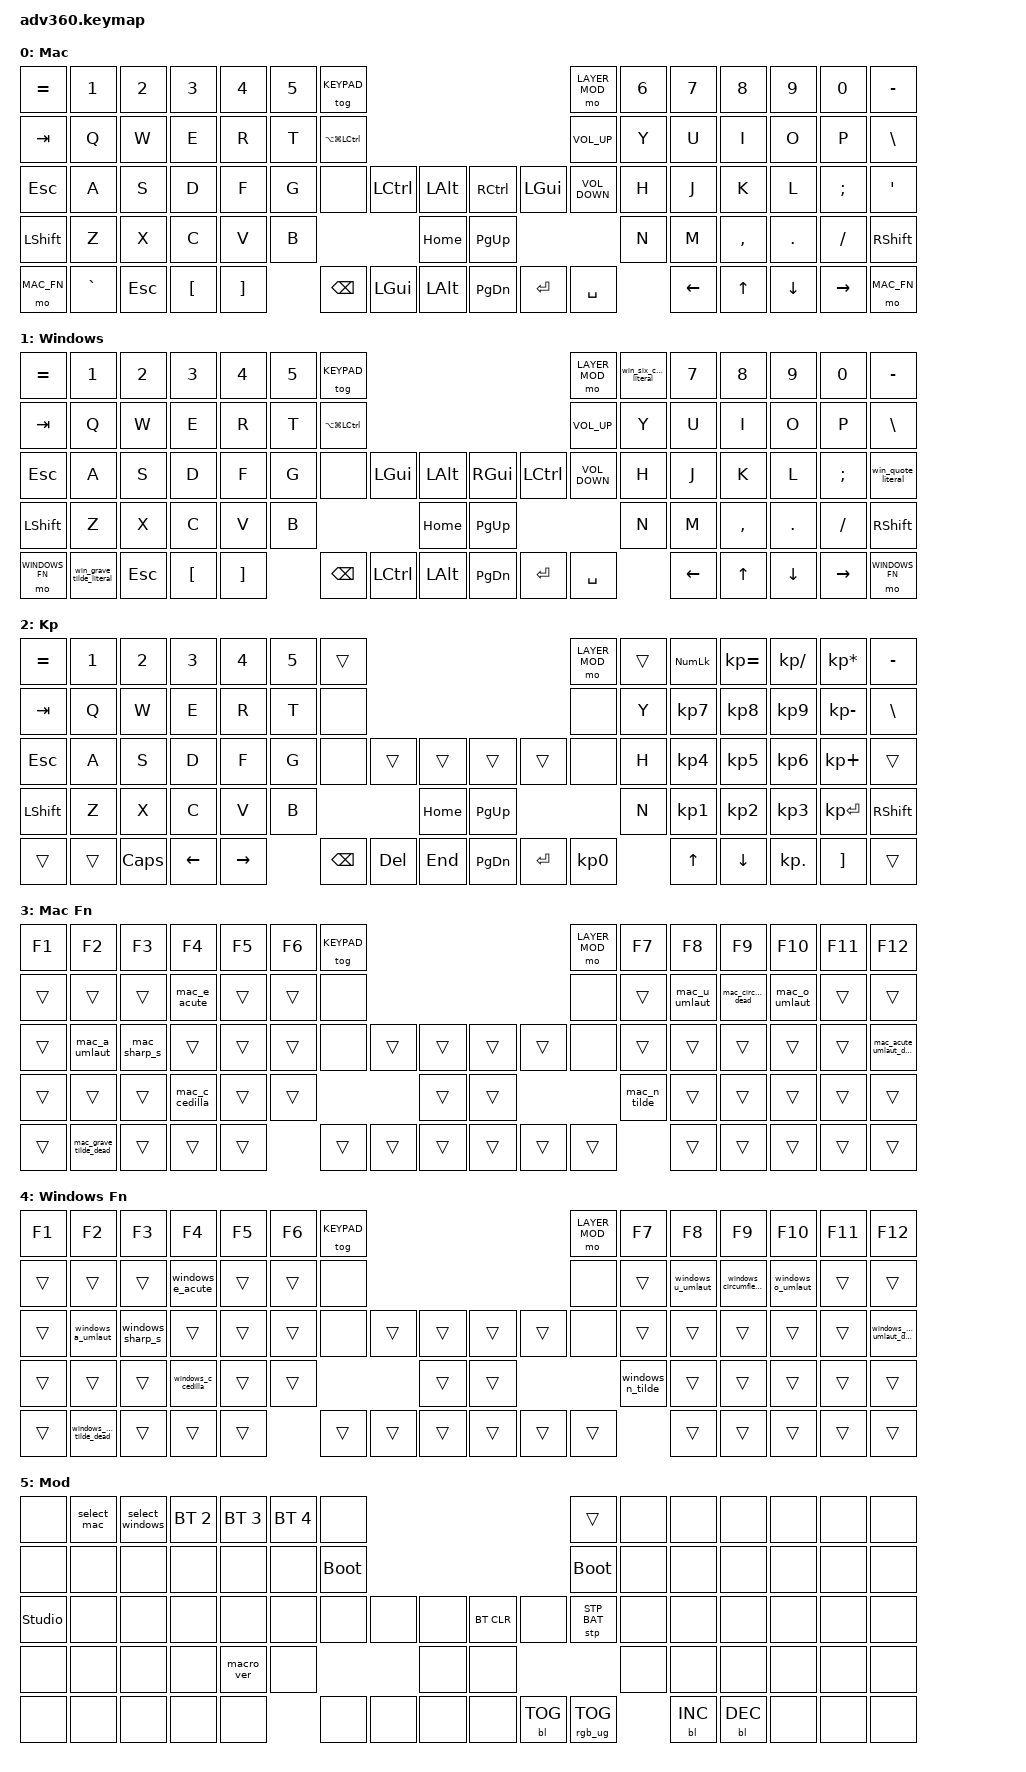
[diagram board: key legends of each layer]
#include <dt-bindings/zmk/stp.h>
#include <behaviors.dtsi>
#include <dt-bindings/zmk/backlight.h>
#include <dt-bindings/zmk/bt.h>
#include <dt-bindings/zmk/keys.h>
#include <dt-bindings/zmk/modifiers.h>
#include <dt-bindings/zmk/rgb.h>

#define MAC_BASE 0
#define WINDOWS_BASE 1
#define KEYPAD 2
#define MAC_FN 3
#define WINDOWS_FN 4
#define LAYER_MOD 5

/ {
    behaviors {
        #include "macros.dtsi"
        #include "version.dtsi"

        hm: homerow_mods {
            compatible = "zmk,behavior-hold-tap";
            label = "HOMEROW_MODS";
            #binding-cells = <2>;
            tapping-term-ms = <200>;
            quick_tap_ms = <175>;
            flavor = "tap-preferred";
            bindings = <&kp>, <&kp>;
        };

        mac_a_umlaut: mac_a_umlaut {
            compatible = "zmk,behavior-mod-morph";
            #binding-cells = <0>;
            bindings = <&mac_a_umlaut_lower>, <&mac_a_umlaut_upper>;
            mods = <(MOD_LSFT|MOD_RSFT)>;
        };

        mac_o_umlaut: mac_o_umlaut {
            compatible = "zmk,behavior-mod-morph";
            #binding-cells = <0>;
            bindings = <&mac_o_umlaut_lower>, <&mac_o_umlaut_upper>;
            mods = <(MOD_LSFT|MOD_RSFT)>;
        };

        mac_u_umlaut: mac_u_umlaut {
            compatible = "zmk,behavior-mod-morph";
            #binding-cells = <0>;
            bindings = <&mac_u_umlaut_lower>, <&mac_u_umlaut_upper>;
            mods = <(MOD_LSFT|MOD_RSFT)>;
        };

        mac_e_acute: mac_e_acute {
            compatible = "zmk,behavior-mod-morph";
            #binding-cells = <0>;
            bindings = <&mac_e_acute_lower>, <&mac_e_acute_upper>;
            mods = <(MOD_LSFT|MOD_RSFT)>;
        };

        mac_n_tilde: mac_n_tilde {
            compatible = "zmk,behavior-mod-morph";
            #binding-cells = <0>;
            bindings = <&mac_n_tilde_lower>, <&mac_n_tilde_upper>;
            mods = <(MOD_LSFT|MOD_RSFT)>;
        };

        mac_c_cedilla: mac_c_cedilla {
            compatible = "zmk,behavior-mod-morph";
            #binding-cells = <0>;
            bindings = <&kp LA(C)>, <&kp LA(LS(C))>;
            mods = <(MOD_LSFT|MOD_RSFT)>;
        };

        mac_sharp_s: mac_sharp_s {
            compatible = "zmk,behavior-mod-morph";
            #binding-cells = <0>;
            bindings = <&kp LA(S)>, <&upper_ss>;
            mods = <(MOD_LSFT|MOD_RSFT)>;
        };

        windows_a_umlaut: windows_a_umlaut {
            compatible = "zmk,behavior-mod-morph";
            #binding-cells = <0>;
            bindings = <&kp RA(Q)>, <&kp RA(LS(Q))>;
            mods = <(MOD_LSFT|MOD_RSFT)>;
        };

        windows_o_umlaut: windows_o_umlaut {
            compatible = "zmk,behavior-mod-morph";
            #binding-cells = <0>;
            bindings = <&kp RA(P)>, <&kp RA(LS(P))>;
            mods = <(MOD_LSFT|MOD_RSFT)>;
        };

        windows_u_umlaut: windows_u_umlaut {
            compatible = "zmk,behavior-mod-morph";
            #binding-cells = <0>;
            bindings = <&kp RA(Y)>, <&kp RA(LS(Y))>;
            mods = <(MOD_LSFT|MOD_RSFT)>;
        };

        windows_e_acute: windows_e_acute {
            compatible = "zmk,behavior-mod-morph";
            #binding-cells = <0>;
            bindings = <&kp RA(E)>, <&kp RA(LS(E))>;
            mods = <(MOD_LSFT|MOD_RSFT)>;
        };

        windows_n_tilde: windows_n_tilde {
            compatible = "zmk,behavior-mod-morph";
            #binding-cells = <0>;
            bindings = <&kp RA(N)>, <&kp RA(LS(N))>;
            mods = <(MOD_LSFT|MOD_RSFT)>;
        };

        windows_c_cedilla: windows_c_cedilla {
            compatible = "zmk,behavior-mod-morph";
            #binding-cells = <0>;
            bindings = <&kp RA(COMMA)>, <&kp RA(LS(COMMA))>;
            mods = <(MOD_LSFT|MOD_RSFT)>;
        };

        windows_sharp_s: windows_sharp_s {
            compatible = "zmk,behavior-mod-morph";
            #binding-cells = <0>;
            bindings = <&kp RA(S)>, <&upper_ss>;
            mods = <(MOD_LSFT|MOD_RSFT)>;
        };

        win_quote_literal: win_quote_literal {
            compatible = "zmk,behavior-mod-morph";
            #binding-cells = <0>;
            bindings = <&win_literal_apostrophe>, <&win_literal_quote>;
            mods = <(MOD_LSFT|MOD_RSFT)>;
        };

        win_grave_tilde_literal: win_grave_tilde_literal {
            compatible = "zmk,behavior-mod-morph";
            #binding-cells = <0>;
            bindings = <&win_literal_grave>, <&win_literal_tilde>;
            mods = <(MOD_LSFT|MOD_RSFT)>;
        };

        win_six_caret_literal: win_six_caret_literal {
            compatible = "zmk,behavior-mod-morph";
            #binding-cells = <0>;
            bindings = <&kp N6>, <&win_literal_caret>;
            mods = <(MOD_LSFT|MOD_RSFT)>;
        };

        mac_acute_umlaut_dead: mac_acute_umlaut_dead {
            compatible = "zmk,behavior-mod-morph";
            #binding-cells = <0>;
            bindings = <&kp LA(E)>, <&kp LA(U)>;
            mods = <(MOD_LSFT|MOD_RSFT)>;
        };

        mac_grave_tilde_dead: mac_grave_tilde_dead {
            compatible = "zmk,behavior-mod-morph";
            #binding-cells = <0>;
            bindings = <&kp LA(GRAVE)>, <&kp LA(N)>;
            mods = <(MOD_LSFT|MOD_RSFT)>;
        };

        mac_circumflex_dead: mac_circumflex_dead {
            compatible = "zmk,behavior-mod-morph";
            #binding-cells = <0>;
            bindings = <&kp LA(I)>, <&kp LA(I)>;
            mods = <(MOD_LSFT|MOD_RSFT)>;
        };

        windows_acute_umlaut_dead: windows_acute_umlaut_dead {
            compatible = "zmk,behavior-mod-morph";
            #binding-cells = <0>;
            bindings = <&kp SQT>, <&kp DQT>;
            mods = <(MOD_LSFT|MOD_RSFT)>;
        };

        windows_grave_tilde_dead: windows_grave_tilde_dead {
            compatible = "zmk,behavior-mod-morph";
            #binding-cells = <0>;
            bindings = <&kp GRAVE>, <&kp TILDE>;
            mods = <(MOD_LSFT|MOD_RSFT)>;
        };

        windows_circumflex_dead: windows_circumflex_dead {
            compatible = "zmk,behavior-mod-morph";
            #binding-cells = <0>;
            bindings = <&kp CARET>, <&kp CARET>;
            mods = <(MOD_LSFT|MOD_RSFT)>;
        };
    };

    keymap {
        compatible = "zmk,keymap";

        default_layer {
            display-name = "Mac";
            bindings = <
&kp EQUAL  &kp N1     &kp N2      &kp N3            &kp N4             &kp N5  &tog KEYPAD                                                           &mo LAYER_MOD      &kp N6  &kp N7    &kp N8        &kp N9    &kp N0     &kp MINUS
&kp TAB    &kp Q      &kp W       &kp E             &kp R              &kp T   &kp LA(LG(LCTRL))                                                     &kp C_VOLUME_UP    &kp Y   &kp U     &kp I         &kp O     &kp P      &kp BSLH
&kp ESC    &kp A      &kp S       &kp D             &kp F              &kp G   &none              &kp LCTRL  &kp LALT          &kp RCTRL  &kp LGUI   &kp C_VOLUME_DOWN  &kp H   &kp J     &kp K         &kp L     &kp SEMI   &kp SQT
&kp LSHFT  &kp Z      &kp X       &kp C             &kp V              &kp B                                 &kp HOME          &kp PG_UP                                &kp N   &kp M     &kp COMMA     &kp DOT   &kp FSLH   &kp RSHFT
&mo MAC_FN &kp GRAVE  &kp ESCAPE  &kp LEFT_BRACKET  &kp RIGHT_BRACKET          &kp BSPC           &kp LGUI   &kp LEFT_ALT      &kp PG_DN  &kp ENTER  &kp SPACE                  &kp LEFT  &kp UP_ARROW  &kp DOWN  &kp RIGHT  &mo MAC_FN
            >;
        };

        windows {
            display-name = "Windows";
            bindings = <
&kp EQUAL      &kp N1     &kp N2      &kp N3            &kp N4             &kp N5  &tog KEYPAD                                                           &mo LAYER_MOD      &win_six_caret_literal  &kp N7    &kp N8        &kp N9    &kp N0     &kp MINUS
&kp TAB        &kp Q      &kp W       &kp E             &kp R              &kp T   &kp LA(LG(LCTRL))                                                     &kp C_VOLUME_UP    &kp Y                  &kp U     &kp I         &kp O     &kp P      &kp BSLH
&kp ESC        &kp A      &kp S       &kp D             &kp F              &kp G   &none             &kp LGUI  &kp LALT          &kp RGUI   &kp LCTRL  &kp C_VOLUME_DOWN  &kp H                  &kp J     &kp K         &kp L     &kp SEMI   &win_quote_literal
&kp LSHFT      &kp Z      &kp X       &kp C             &kp V              &kp B                                &kp HOME          &kp PG_UP                                &kp N                  &kp M     &kp COMMA     &kp DOT   &kp FSLH   &kp RSHFT
&mo WINDOWS_FN &win_grave_tilde_literal &kp ESCAPE  &kp LEFT_BRACKET  &kp RIGHT_BRACKET          &kp BSPC           &kp LCTRL  &kp LEFT_ALT      &kp PG_DN  &kp ENTER  &kp SPACE                         &kp LEFT  &kp UP_ARROW  &kp DOWN  &kp RIGHT  &mo WINDOWS_FN
            >;
        };

        keypad {
            display-name = "Kp";
            bindings = <
&kp EQUAL  &kp N1     &kp N2    &kp N3    &kp N4     &kp N5  &trans                                                   &mo LAYER_MOD  &trans  &kp KP_NUM  &kp KP_EQUAL  &kp KP_DIVIDE  &kp KP_MULTIPLY  &kp MINUS
&kp TAB    &kp Q      &kp W     &kp E     &kp R      &kp T   &none                                                    &none      &kp Y   &kp KP_N7   &kp KP_N8     &kp KP_N9      &kp KP_MINUS     &kp BSLH
&kp ESC    &kp A      &kp S     &kp D     &kp F      &kp G   &none     &trans     &trans        &trans     &trans     &none      &kp H   &kp KP_N4   &kp KP_N5     &kp KP_N6      &kp KP_PLUS      &trans
&kp LSHFT  &kp Z      &kp X     &kp C     &kp V      &kp B                        &kp HOME      &kp PG_UP                        &kp N   &kp KP_N1   &kp KP_N2     &kp KP_N3      &kp KP_ENTER     &kp RSHFT
&trans     &trans     &kp CAPS  &kp LEFT  &kp RIGHT          &kp BSPC  &kp DEL    &kp END       &kp PG_DN  &kp ENTER  &kp KP_N0          &kp UP      &kp DOWN      &kp KP_DOT     &kp RBKT         &trans
            >;
        };

        mac_fn {
            display-name = "Mac Fn";
            bindings = <
&kp F1  &kp F2  &kp F3  &kp F4          &kp F5  &kp F6  &tog KEYPAD                                      &mo LAYER_MOD  &kp F7  &kp F8            &kp F9  &kp F10          &kp F11  &kp F12
&trans  &trans  &trans  &mac_e_acute    &trans  &trans  &none                                            &none          &trans  &mac_u_umlaut    &mac_circumflex_dead  &mac_o_umlaut  &trans  &trans
&trans  &mac_a_umlaut  &mac_sharp_s     &trans  &trans  &trans  &none   &trans  &trans      &trans  &trans  &none          &trans  &trans            &trans  &trans           &trans  &mac_acute_umlaut_dead
&trans  &trans  &trans  &mac_c_cedilla  &trans  &trans                  &trans  &trans                              &mac_n_tilde  &trans            &trans  &trans           &trans  &trans
&trans  &mac_grave_tilde_dead  &trans   &trans  &trans          &trans  &trans  &trans      &trans  &trans  &trans                 &trans  &trans            &trans  &trans  &trans
            >;
        };

        windows_fn {
            display-name = "Windows Fn";
            bindings = <
&kp F1  &kp F2  &kp F3  &kp F4              &kp F5  &kp F6  &tog KEYPAD                                      &mo LAYER_MOD  &kp F7  &kp F8                &kp F9  &kp F10              &kp F11  &kp F12
&trans  &trans  &trans  &windows_e_acute    &trans  &trans  &none                                            &none          &trans  &windows_u_umlaut    &windows_circumflex_dead  &windows_o_umlaut  &trans  &trans
&trans  &windows_a_umlaut  &windows_sharp_s &trans  &trans  &trans  &none   &trans  &trans      &trans  &trans  &none          &trans  &trans                &trans  &trans               &trans  &windows_acute_umlaut_dead
&trans  &trans  &trans  &windows_c_cedilla  &trans  &trans                  &trans  &trans                                  &windows_n_tilde  &trans                &trans  &trans               &trans  &trans
&trans  &windows_grave_tilde_dead  &trans   &trans  &trans          &trans  &trans  &trans      &trans  &trans  &trans                     &trans  &trans                &trans  &trans  &trans
            >;
        };

        mod {
            display-name = "Mod";
            bindings = <
&none           &select_mac   &select_windows  &bt BT_SEL 2  &bt BT_SEL 3  &bt BT_SEL 4  &none                                                  &trans           &none  &none       &none       &none  &none  &none
&none           &none         &none         &none         &none         &none         &bootloader                                            &bootloader      &none  &none       &none       &none  &none  &none
&studio_unlock  &none         &none         &none         &none         &none         &none        &none  &none      &bt BT_CLR  &none       &stp STP_BAT     &none  &none       &none       &none  &none  &none
&none           &none         &none         &none         &macro_ver    &none                             &none      &none                                    &none  &none       &none       &none  &none  &none
&none           &none         &none         &none         &none                       &none        &none  &none      &none       &bl BL_TOG  &rgb_ug RGB_TOG         &bl BL_INC  &bl BL_DEC  &none  &none  &none
            >;
        };

        extra1 {
            display-name = "Red";
            status = "reserved";
        };

        extra2 {
            display-name = "Purple";
            status = "reserved";
        };

        extra3 {
            display-name = "Cyan";
            status = "reserved";
        };

        extra4 {
            display-name = "Yellow";
            status = "reserved";
        };
    };
};
